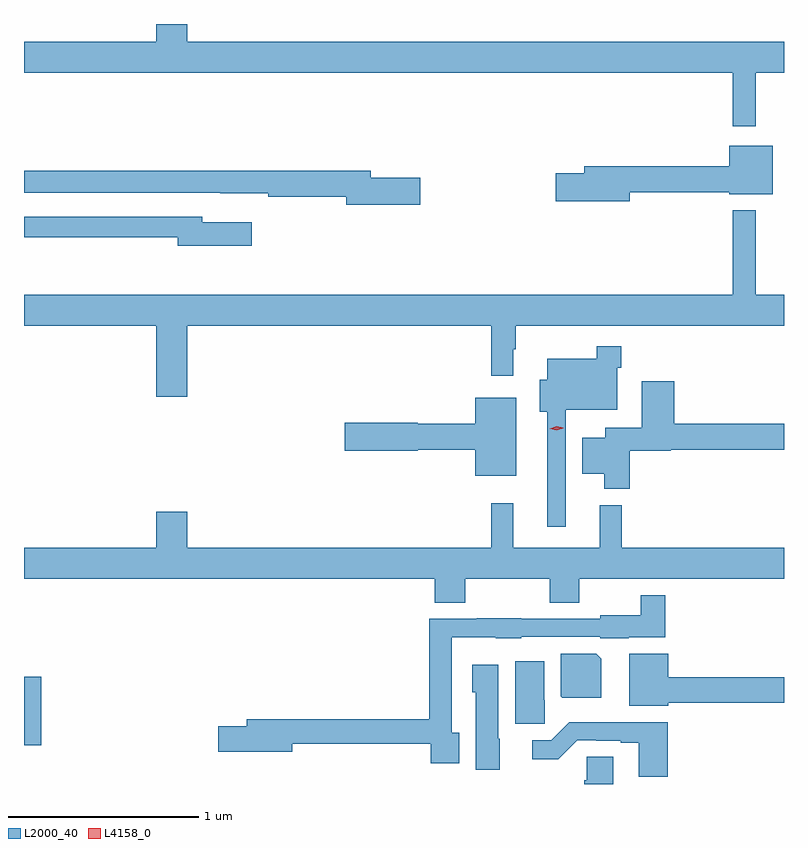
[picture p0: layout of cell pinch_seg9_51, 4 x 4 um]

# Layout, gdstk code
import gdstk
lib = gdstk.Library(unit=1e-6, precision=1e-09)
def R(c, l, rs):  # rectangles x0, y0, x1, y1
    for r in rs: c.add(gdstk.rectangle(r[:2], r[2:], *l))
def P(c, l, *ps):  # polygons
    for p in ps: c.add(gdstk.Polygon(p, *l))
L2000_40 = (2000, 40)
L4158_0 = (4158, 0)

pinch_seg9_51 = lib.new_cell('pinch_seg9_51')
R(pinch_seg9_51, L2000_40, [(967.509,1186.222,967.601,1186.582)])
P(pinch_seg9_51, L2000_40, [(971.359,1189.76),(971.509,1189.76),(971.509,1189.924),(968.368,1189.924),(968.368,1190.017),(968.204,1190.017),(968.204,1189.924),(967.509,1189.924),(967.509,1189.76),(971.238,1189.76),(971.238,1189.479),(971.359,1189.479)],
  [(970.696,1189.132),(971.222,1189.132),(971.222,1189.121),(971.449,1189.121),(971.449,1189.375),(971.222,1189.375),(971.222,1189.268),(970.457,1189.268),(970.457,1189.232),(970.308,1189.232),(970.308,1189.085),(970.696,1189.085)],
  [(969.595,1189.208),(969.334,1189.208),(969.334,1189.244),(967.509,1189.244),(967.509,1189.128),(968.542,1189.128),(968.542,1189.127),(968.794,1189.127),(968.794,1189.108),(969.206,1189.108),(969.206,1189.066),(969.595,1189.066)],
  [(968.368,1188.428),(969.967,1188.428),(969.967,1188.165),(970.084,1188.165),(970.084,1188.305),(970.096,1188.305),(970.096,1188.428),(971.509,1188.428),(971.509,1188.592),(971.359,1188.592),(971.359,1189.036),(971.238,1189.036),(971.238,1188.592),(967.509,1188.592),(967.509,1188.428),(968.204,1188.428),(968.204,1188.054),(968.368,1188.054)],
  [(968.707,1188.973),(968.446,1188.973),(968.446,1189.002),(967.509,1189.002),(967.509,1188.894),(968.318,1188.894),(968.318,1188.851),(968.707,1188.851)],
  [(970.359,1187.987),(970.632,1187.987),(970.632,1188.209),(970.652,1188.209),(970.652,1188.322),(970.524,1188.322),(970.524,1188.256),(970.262,1188.256),(970.262,1188.145),(970.223,1188.145),(970.223,1187.975),(970.262,1187.975),(970.262,1187.37),(970.359,1187.37)],
  [(970.697,1187.771),(970.914,1187.771),(970.914,1187.776),(971.509,1187.776),(971.509,1187.912),(970.931,1187.912),(970.931,1188.136),(970.76,1188.136),(970.76,1187.893),(970.568,1187.893),(970.568,1187.839),(970.448,1187.839),(970.448,1187.651),(970.562,1187.651),(970.562,1187.57),(970.697,1187.57)],
  [(970.099,1188.049),(969.884,1188.049),(969.884,1187.912),(969.582,1187.912),(969.582,1187.918),(969.198,1187.918),(969.198,1187.771),(969.582,1187.771),(969.582,1187.776),(969.884,1187.776),(969.884,1187.639),(970.099,1187.639)],
  [(969.831,1187.096),(970.276,1187.096),(970.276,1186.972),(970.431,1186.972),(970.431,1187.096),(971.509,1187.096),(971.509,1187.26),(970.655,1187.26),(970.655,1187.485),(970.538,1187.485),(970.538,1187.26),(970.085,1187.26),(970.085,1187.494),(969.967,1187.494),(969.967,1187.26),(968.368,1187.26),(968.368,1187.449),(968.204,1187.449),(968.204,1187.26),(967.509,1187.26),(967.509,1187.096),(969.671,1187.096),(969.671,1186.972),(969.831,1186.972)],
  [(969.799,1186.286),(969.759,1186.286),(969.759,1186.79),(969.993,1186.79),(969.993,1186.784),(970.125,1186.784),(970.125,1186.791),(970.542,1186.791),(970.542,1186.784),(970.692,1186.784),(970.692,1186.79),(970.883,1186.79),(970.883,1187.011),(970.755,1187.011),(970.755,1186.906),(970.542,1186.906),(970.542,1186.887),(970.125,1186.887),(970.125,1186.889),(969.893,1186.889),(969.893,1186.887),(969.643,1186.887),(969.643,1186.358),(968.681,1186.358),(968.681,1186.322),(968.532,1186.322),(968.532,1186.187),(968.92,1186.187),(968.92,1186.23),(969.651,1186.23),(969.651,1186.125),(969.799,1186.125)],
  [(970.546,1186.676),(970.52,1186.702),(970.334,1186.702),(970.334,1186.48),(970.342,1186.472),(970.546,1186.472)],
  [(970.9,1186.444),(971.509,1186.444),(971.509,1186.58),(970.9,1186.58),(970.9,1186.702),(970.694,1186.702),(970.694,1186.43),(970.9,1186.43)],
  [(970.25,1186.458),(970.246,1186.458),(970.246,1186.663),(970.094,1186.663),(970.094,1186.335),(970.25,1186.335)],
  [(970.012,1186.254),(970.006,1186.254),(970.006,1186.645),(969.869,1186.645),(969.869,1186.5),(969.887,1186.5),(969.887,1186.092),(970.012,1186.092)],
  [(970.898,1186.343),(970.379,1186.343),(970.284,1186.248),(970.185,1186.248),(970.185,1186.146),(970.32,1186.146),(970.422,1186.248),(970.522,1186.248),(970.522,1186.245),(970.649,1186.245),(970.649,1186.233),(970.745,1186.233),(970.745,1186.056),(970.898,1186.056)],
  [(970.609,1186.16),(970.47,1186.16),(970.47,1186.038),(970.457,1186.038),(970.457,1186.017),(970.609,1186.017)])
P(pinch_seg9_51, L4158_0, [(970.312,1187.879),(970.276,1187.888),(970.276,1187.888),(970.276,1187.888),(970.312,1187.899),(970.348,1187.891),(970.348,1187.891),(970.348,1187.89)])

lib.write_gds('pinch_seg9_51.gds')
